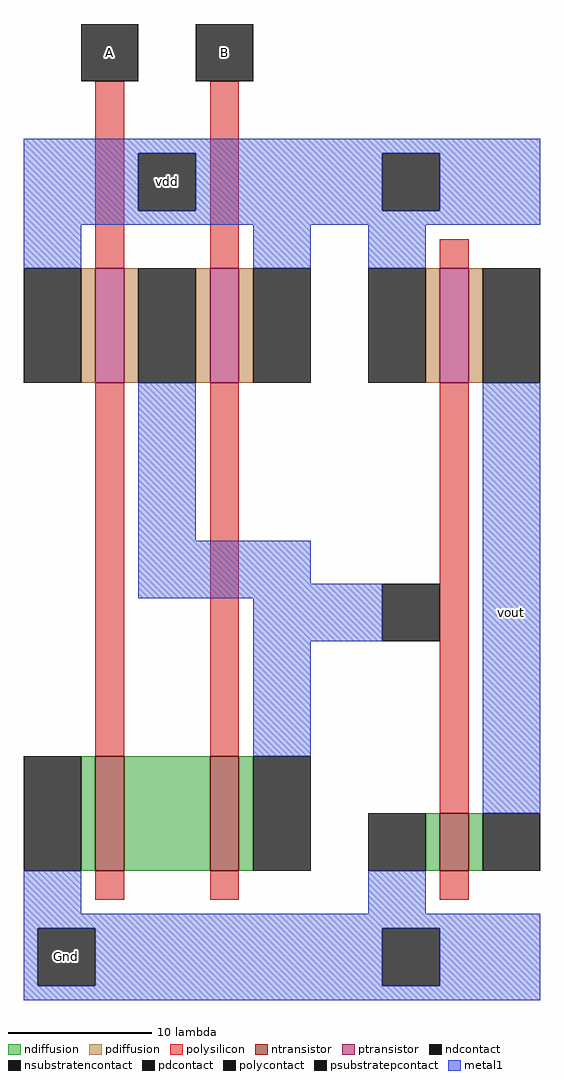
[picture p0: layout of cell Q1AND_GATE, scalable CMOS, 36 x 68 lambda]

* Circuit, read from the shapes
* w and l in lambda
.subckt Q1AND_GATE A B Gnd vdd vout
M1 n1 A Gnd Gnd nfet w=8 l=2
M2 n2 B n1 Gnd nfet w=8 l=2
M3 vout n2 Gnd Gnd nfet w=4 l=2
M4 n2 A vdd vdd pfet w=8 l=2
M5 vdd B n2 vdd pfet w=8 l=2
M6 vout n2 vdd vdd pfet w=8 l=2
.ends

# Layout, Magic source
magic
tech scmos
<< polysilicon >>
rect 5 52 7 65
rect 13 52 15 65
rect 29 52 31 54
rect 5 18 7 44
rect 13 18 15 44
rect 29 14 31 44
rect 5 8 7 10
rect 13 8 15 10
rect 29 8 31 10
<< ndiffusion >>
rect 4 10 5 18
rect 7 10 13 18
rect 15 10 16 18
rect 28 10 29 14
rect 31 10 32 14
<< pdiffusion >>
rect 4 44 5 52
rect 7 44 8 52
rect 12 44 13 52
rect 15 44 16 52
rect 28 44 29 52
rect 31 44 32 52
<< metal1 >>
rect 0 60 36 61
rect 0 56 8 60
rect 12 56 25 60
rect 29 56 36 60
rect 0 55 36 56
rect 0 52 4 55
rect 16 52 20 55
rect 24 52 28 55
rect 8 33 12 44
rect 8 30 20 33
rect 8 29 25 30
rect 16 26 25 29
rect 16 18 20 26
rect 32 14 36 44
rect 0 7 4 10
rect 24 7 28 10
rect 0 6 36 7
rect 0 2 1 6
rect 5 2 25 6
rect 29 2 36 6
rect 0 1 36 2
<< ntransistor >>
rect 5 10 7 18
rect 13 10 15 18
rect 29 10 31 14
<< ptransistor >>
rect 5 44 7 52
rect 13 44 15 52
rect 29 44 31 52
<< polycontact >>
rect 4 65 8 69
rect 12 65 16 69
rect 25 26 29 30
<< ndcontact >>
rect 0 10 4 18
rect 16 10 20 18
rect 24 10 28 14
rect 32 10 36 14
<< pdcontact >>
rect 0 44 4 52
rect 8 44 12 52
rect 16 44 20 52
rect 24 44 28 52
rect 32 44 36 52
<< psubstratepcontact >>
rect 1 2 5 6
rect 25 2 29 6
<< nsubstratencontact >>
rect 8 56 12 60
rect 25 56 29 60
<< labels >>
rlabel nsubstratencontact 10 58 10 58 1 vdd
rlabel psubstratepcontact 3 4 3 4 2 Gnd
rlabel polycontact 6 67 6 67 5 A
rlabel polycontact 14 67 14 67 5 B
rlabel metal1 34 28 34 28 7 vout
<< end >>
